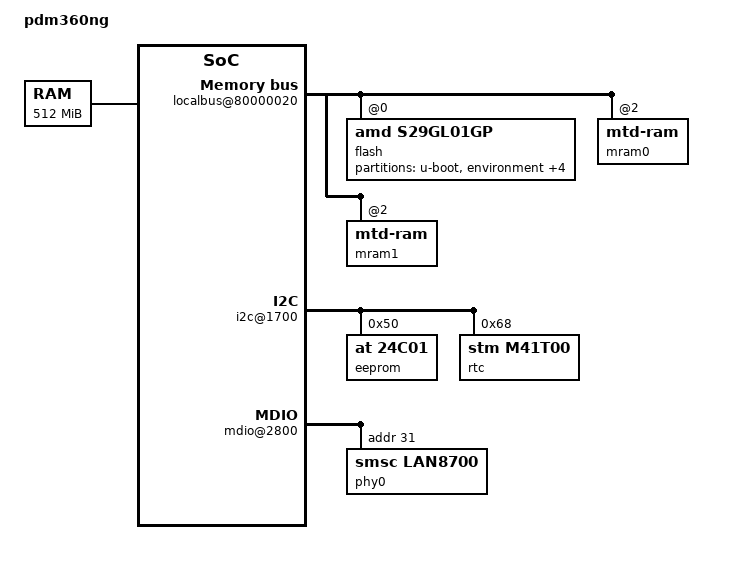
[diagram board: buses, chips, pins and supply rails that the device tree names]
/*
 * Device Tree Source for IFM PDM360NG.
 *
 * Copyright 2009 - 2010 DENX Software Engineering.
 * Anatolij Gustschin <agust@denx.de>
 *
 * Based on MPC5121E ADS dts.
 * Copyright 2008 Freescale Semiconductor Inc.
 *
 * This program is free software; you can redistribute it and/or modify it
 * under the terms of the GNU General Public License as published by the
 * Free Software Foundation; either version 2 of the License, or (at your
 * option) any later version.
 */

/include/ "mpc5121.dtsi"

/ {
	model = "pdm360ng";
	compatible = "ifm,pdm360ng";
	#address-cells = <1>;
	#size-cells = <1>;
	interrupt-parent = <&ipic>;

	memory {
		device_type = "memory";
		reg = <0x00000000 0x20000000>;	// 512MB at 0
	};

	nfc@40000000 {
		bank-width = <0x1>;
		chips = <0x1>;

		partition@0 {
			label = "nand0";
			reg = <0x0 0x40000000>;
		};
	};

	localbus@80000020 {
		ranges = <0x0 0x0 0xf0000000 0x10000000   /* Flash */
			  0x2 0x0 0x50040000 0x00020000>; /* CS2: MRAM */

		flash@0,0 {
			compatible = "amd,s29gl01gp", "cfi-flash";
			reg = <0 0x00000000 0x08000000
			       0 0x08000000 0x08000000>;
			#address-cells = <1>;
			#size-cells = <1>;
			bank-width = <4>;
			device-width = <2>;

			partition@0 {
				label = "u-boot";
				reg = <0x00000000 0x00080000>;
				read-only;
			};
			partition@80000 {
				label = "environment";
				reg = <0x00080000 0x00080000>;
				read-only;
			};
			partition@100000 {
				label = "splash-image";
				reg = <0x00100000 0x00080000>;
				read-only;
			};
			partition@180000 {
				label = "device-tree";
				reg = <0x00180000 0x00040000>;
			};
			partition@1c0000 {
				label = "kernel";
				reg = <0x001c0000 0x00500000>;
			};
			partition@6c0000 {
				label = "filesystem";
				reg = <0x006c0000 0x07940000>;
			};
		};

		mram0@2,0 {
			compatible = "mtd-ram";
			reg = <2 0x00000 0x10000>;
			bank-width = <2>;
		};

		mram1@2,10000 {
			compatible = "mtd-ram";
			reg = <2 0x010000 0x10000>;
			bank-width = <2>;
		};
	};

	soc@80000000 {

		i2c@1700 {
			fsl,preserve-clocking;

			eeprom@50 {
				compatible = "at,24c01";
				reg = <0x50>;
			};

			rtc@68 {
				compatible = "stm,m41t00";
				reg = <0x68>;
			};
		};

		i2c@1720 {
			status = "disabled";
		};

		i2c@1740 {
			fsl,preserve-clocking;
		};

		ethernet@2800 {
			phy-handle = <&phy0>;
		};

		mdio@2800 {
			phy0: ethernet-phy@1f {
				compatible = "smsc,lan8700";
				reg = <0x1f>;
			};
		};

		/* USB1 using external ULPI PHY */
		usb@3000 {
			dr_mode = "host";
		};

		/* USB0 using internal UTMI PHY */
		usb@4000 {
			fsl,invert-pwr-fault;
		};

		psc@11000 {
			compatible = "fsl,mpc5121-psc-uart", "fsl,mpc5121-psc";
		};

		psc@11100 {
			compatible = "fsl,mpc5121-psc-uart", "fsl,mpc5121-psc";
		};

		psc@11200 {
			compatible = "fsl,mpc5121-psc-uart", "fsl,mpc5121-psc";
		};

		psc@11300 {
			compatible = "fsl,mpc5121-psc-uart", "fsl,mpc5121-psc";
		};

		psc@11400 {
			compatible = "fsl,mpc5121-psc-uart", "fsl,mpc5121-psc";
		};

		psc@11500 {
			status = "disabled";
		};

		psc@11600 {
			compatible = "fsl,mpc5121-psc-uart", "fsl,mpc5121-psc";
		};

		psc@11700 {
			status = "disabled";
		};

		psc@11800 {
			compatible = "fsl,mpc5121-psc-uart", "fsl,mpc5121-psc";
		};

		psc@11900 {
			compatible = "fsl,mpc5121-psc-spi", "fsl,mpc5121-psc";
			#address-cells = <1>;
			#size-cells = <0>;

			/* ADS7845 touch screen controller */
			ts@0 {
				compatible = "ti,ads7846";
				reg = <0x0>;
				spi-max-frequency = <3000000>;
				/* pen irq is GPIO25 */
				interrupts = <78 0x8>;
			};
		};

		psc@11a00 {
			status = "disabled";
		};

		psc@11b00 {
			compatible = "fsl,mpc5121-psc-uart", "fsl,mpc5121-psc";
		};
	};
};
